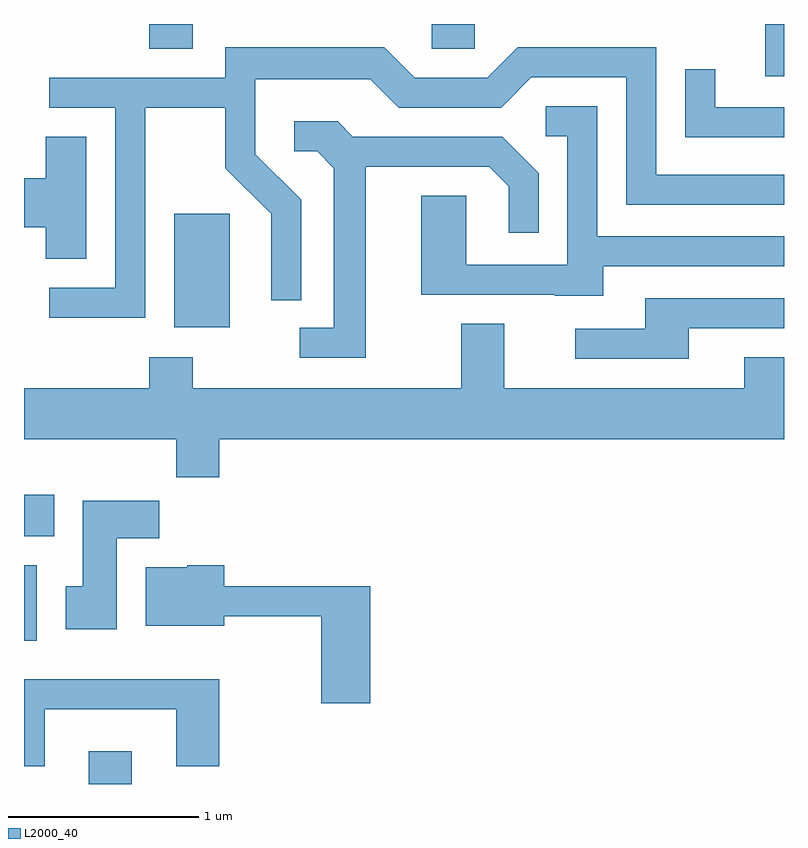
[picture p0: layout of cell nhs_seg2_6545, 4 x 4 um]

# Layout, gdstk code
import gdstk
lib = gdstk.Library(unit=1e-6, precision=1e-09)
def R(c, l, rs):  # rectangles x0, y0, x1, y1
    for r in rs: c.add(gdstk.rectangle(r[:2], r[2:], *l))
def P(c, l, *ps):  # polygons
    for p in ps: c.add(gdstk.Polygon(p, *l))
L2000_40 = (2000, 40)

nhs_seg2_6545 = lib.new_cell('nhs_seg2_6545')
R(nhs_seg2_6545, L2000_40, [(377.951,1079.802,378.179,1079.974), (377.611,1080.556,377.679,1080.954), (377.611,1081.106,377.769,1081.324), (378.401,1082.206,378.694,1082.804), (381.511,1083.526,381.611,1083.802), (378.271,1083.671,378.499,1083.802), (379.756,1083.671,379.984,1083.802)])
P(nhs_seg2_6545, L2000_40, [(378.249,1083.361),(378.671,1083.361),(378.671,1083.044),(378.911,1082.804),(378.911,1082.348),(379.069,1082.348),(379.069,1082.877),(378.829,1083.117),(378.829,1083.511),(379.434,1083.511),(379.584,1083.361),(380.122,1083.361),(380.282,1083.521),(380.781,1083.521),(380.781,1082.851),(381.611,1082.851),(381.611,1083.009),(380.939,1083.009),(380.939,1083.679),(380.209,1083.679),(380.049,1083.519),(379.667,1083.519),(379.507,1083.679),(378.671,1083.679),(378.671,1083.519),(377.743,1083.519),(377.743,1083.361),(378.091,1083.361),(378.091,1082.414),(377.743,1082.414),(377.743,1082.256),(378.249,1082.256)],
  [(381.611,1083.364),(381.249,1083.364),(381.249,1083.563),(381.091,1083.563),(381.091,1083.206),(381.611,1083.206)],
  [(380.659,1082.526),(381.611,1082.526),(381.611,1082.684),(380.629,1082.684),(380.629,1083.369),(380.358,1083.369),(380.358,1083.211),(380.471,1083.211),(380.471,1082.534),(379.939,1082.534),(379.939,1082.899),(379.701,1082.899),(379.701,1082.376),(380.405,1082.376),(380.405,1082.371),(380.659,1082.371)],
  [(379.409,1083.051),(380.059,1083.051),(380.161,1082.949),(380.161,1082.703),(380.319,1082.703),(380.319,1083.017),(380.127,1083.209),(379.342,1083.209),(379.262,1083.289),(379.033,1083.289),(379.033,1083.131),(379.154,1083.131),(379.241,1083.044),(379.241,1082.204),(379.063,1082.204),(379.063,1082.046),(379.409,1082.046)],
  [(377.939,1083.209),(377.726,1083.209),(377.726,1082.989),(377.611,1082.989),(377.611,1082.731),(377.726,1082.731),(377.726,1082.566),(377.939,1082.566)],
  [(381.109,1082.201),(381.611,1082.201),(381.611,1082.359),(380.881,1082.359),(380.881,1082.199),(380.513,1082.199),(380.513,1082.041),(381.109,1082.041)],
  [(378.639,1081.616),(381.611,1081.616),(381.611,1082.049),(381.401,1082.049),(381.401,1081.884),(380.139,1081.884),(380.139,1082.224),(379.911,1082.224),(379.911,1081.884),(378.499,1081.884),(378.499,1082.049),(378.271,1082.049),(378.271,1081.884),(377.611,1081.884),(377.611,1081.616),(378.411,1081.616),(378.411,1081.416),(378.639,1081.416)],
  [(378.099,1081.096),(378.324,1081.096),(378.324,1081.294),(377.921,1081.294),(377.921,1080.844),(377.831,1080.844),(377.831,1080.616),(378.099,1080.616)],
  [(379.434,1080.844),(378.664,1080.844),(378.664,1080.954),(378.47,1080.954),(378.47,1080.944),(378.251,1080.944),(378.251,1080.636),(378.664,1080.636),(378.664,1080.686),(379.176,1080.686),(379.176,1080.226),(379.434,1080.226)],
  [(377.719,1080.196),(378.411,1080.196),(378.411,1079.896),(378.639,1079.896),(378.639,1080.354),(377.611,1080.354),(377.611,1079.896),(377.719,1079.896)])

lib.write_gds('nhs_seg2_6545.gds')
